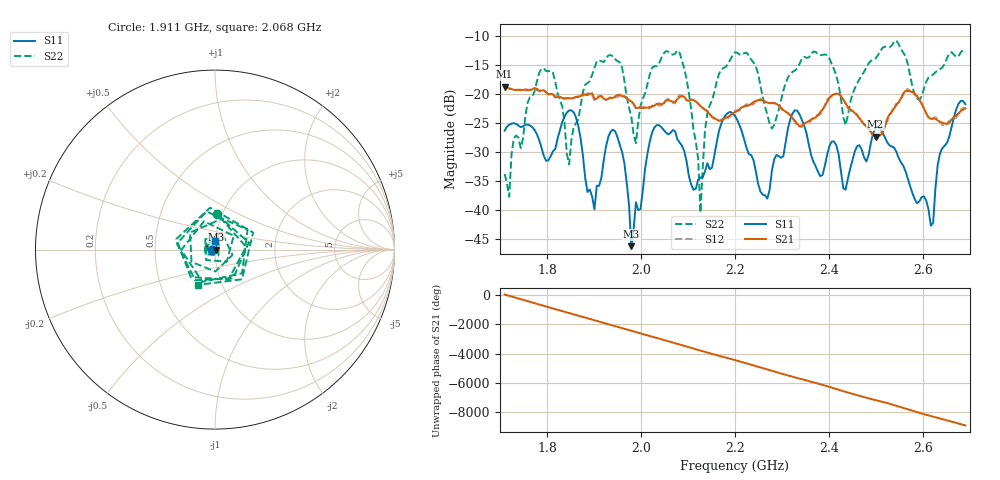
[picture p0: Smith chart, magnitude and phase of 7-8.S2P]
!Agilent Technologies,E5061B,MY49305579,A.02.22
!Date: Thu Aug 24 16:25:59 2017
!Data & Calibration Information:
!Freq	S11:SOLT2(ON)	S21:SOLT2(ON)	S12:SOLT2(ON)	S22:SOLT2(ON)
# Hz S dB R 50
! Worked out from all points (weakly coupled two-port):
!   201 points, 1.71 GHz to 2.69 GHz, reference 50 ohm
!   highest |S21| = -18.69 dB at 1.71 GHz (marker M1); lowest = -27.3 dB at 2.499 GHz (marker M2)
!   lowest |S11| = -46.2 dB at 1.98 GHz (marker M3), VSWR 1.01, Z = 50.5 - j0.0764 ohm
!   |S11| at or under -10 dB: start of sweep to end of sweep
!   |S22| runs from -40.4 to -10.7 dB; largest |S21 - S12| = 0.0052
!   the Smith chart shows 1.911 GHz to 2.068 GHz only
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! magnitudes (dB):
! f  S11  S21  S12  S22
! 1.71 GHz  -26.3  -18.7  -18.7  -33.8
! 1.788 GHz  -29.2  -19.4  -19.3  -15.6
! 1.847 GHz  -22.8  -20.7  -20.7  -32.1
! 1.877 GHz  -30.7  -20.1  -20.3  -19.7
! 1.901 GHz  -39.9  -20.8  -21.1  -15.5
! 1.945 GHz  -26.4  -20.4  -20.4  -14.0
! 1.98 GHz  -46.2  -21.3  -21.2  -23.9
! 2.038 GHz  -25.4  -21.6  -22.0  -14.7
! 2.092 GHz  -29.9  -20.5  -20.8  -15.7
! 2.127 GHz  -34.4  -22.1  -22.0  -40.4
! 2.141 GHz  -31.9  -23.0  -22.9  -23.3
! 2.2 GHz  -23.8  -23.1  -22.8  -12.8
! 2.278 GHz  -33.2  -21.6  -21.5  -25.9
! 2.327 GHz  -22.8  -24.6  -24.9  -15.9
! 2.367 GHz  -31.6  -24.2  -24.0  -12.6
! 2.411 GHz  -28.2  -20.0  -20.2  -15.7
! 2.435 GHz  -36.5  -21.6  -21.6  -25.3
! 2.499 GHz  -25.8  -27.3  -27.7  -13.8
! 2.528 GHz  -28.8  -23.5  -23.9  -11.9
! 2.616 GHz  -42.7  -24.3  -24.3  -16.9
! 2.636 GHz  -30.2  -24.8  -24.9  -15.7
! 2.69 GHz  -21.7  -22.5  -22.4  -12.7
